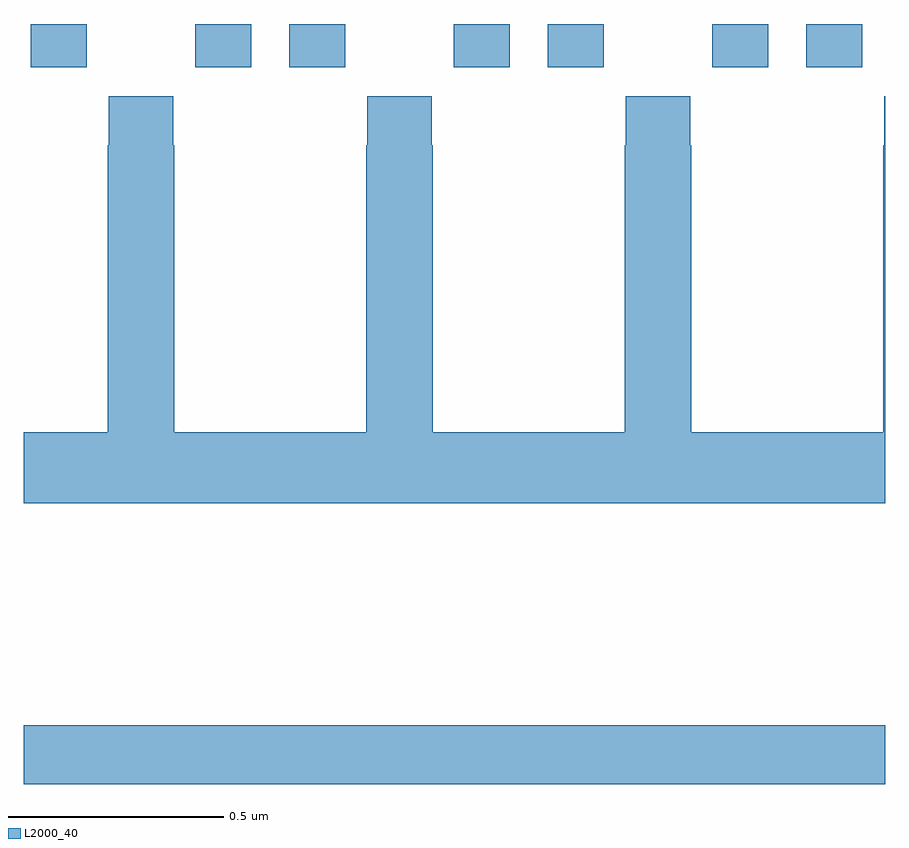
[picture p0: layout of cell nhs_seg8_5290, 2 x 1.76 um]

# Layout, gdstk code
import gdstk
lib = gdstk.Library(unit=1e-6, precision=1e-09)
def R(c, l, rs):  # rectangles x0, y0, x1, y1
    for r in rs: c.add(gdstk.rectangle(r[:2], r[2:], *l))
def P(c, l, *ps):  # polygons
    for p in ps: c.add(gdstk.Polygon(p, *l))
L2000_40 = (2000, 40)

nhs_seg8_5290 = lib.new_cell('nhs_seg8_5290')
R(nhs_seg8_5290, L2000_40, [(181,1161.136,183,1161.272), (181.016,1162.8,181.146,1162.9), (181.398,1162.8,181.528,1162.9), (181.616,1162.8,181.746,1162.9), (181.998,1162.8,182.128,1162.9), (182.216,1162.8,182.346,1162.9), (182.598,1162.8,182.728,1162.9), (182.816,1162.8,182.946,1162.9)])
P(nhs_seg8_5290, L2000_40, [(183,1162.732),(182.997,1162.732),(182.997,1162.619),(182.995,1162.619),(182.995,1161.952),(182.55,1161.952),(182.55,1162.619),(182.547,1162.619),(182.547,1162.732),(182.397,1162.732),(182.397,1162.619),(182.395,1162.619),(182.395,1161.952),(181.95,1161.952),(181.95,1162.619),(181.947,1162.619),(181.947,1162.732),(181.797,1162.732),(181.797,1162.619),(181.795,1162.619),(181.795,1161.952),(181.35,1161.952),(181.35,1162.619),(181.347,1162.619),(181.347,1162.732),(181.197,1162.732),(181.197,1162.619),(181.195,1162.619),(181.195,1161.952),(181,1161.952),(181,1161.788),(183,1161.788)])

lib.write_gds('nhs_seg8_5290.gds')
